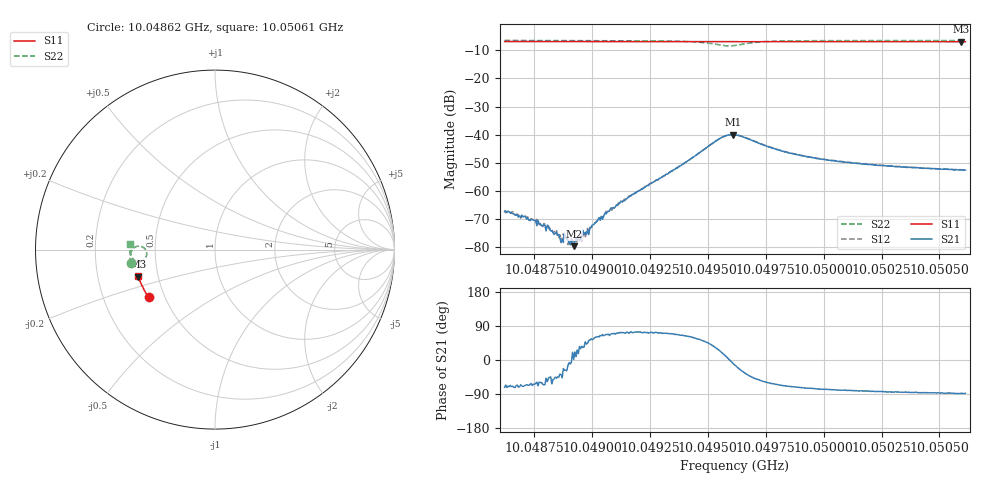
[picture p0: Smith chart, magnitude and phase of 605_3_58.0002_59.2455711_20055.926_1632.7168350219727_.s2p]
#  HZ  S  RI  R  50.00
! Rohde & Schwarz Vector Network Analyzer
! Rohde-Schwarz,ZNB20-2Port,1311601062101988,3.16
! Created: UTC 3/21/2024, 1:17:24 AM
! freq[Hz]  re:S11  im:S11  re:S21  im:S21  re:S12  im:S12  re:S22  im:S22
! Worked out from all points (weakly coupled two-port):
!   401 points, 10.04862 GHz to 10.05061 GHz, reference 50 ohm
!   highest |S21| = -40.03 dB at 10.04961 GHz (marker M1); lowest = -79.8 dB at 10.04892 GHz (marker M2)
!   lowest |S11| = -6.9 dB at 10.05059 GHz (marker M3), VSWR 2.65, Z = 19.3 - j7.3 ohm
!   |S11| at or under -10 dB: nowhere
!   |S22| runs from -8.4 to -6.4 dB; largest |S21 - S12| = 0.00074
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1.0048623e10  -0.3703 -0.2658  0.00013 -0.0004  0.000179 -0.00041  -0.4705 -0.0769
1.0048747e10  -0.3748 -0.2591  0.000133 -0.000269  0.000167 -0.000254  -0.4714 -0.0677
1.0048817e10  -0.3772 -0.2549  0.000144 -0.000149  0.000106 -0.000174  -0.4719 -0.0622
1.0048861e10  -0.3787 -0.2526  0.000114 -8.71e-05  0.000135 -8.9e-05  -0.4721 -0.0586
1.0048881e10  -0.3794 -0.2514  0.000154 -7.76e-05  0.00013 -4.17e-05  -0.4722 -0.0571
1.0048891e10  -0.3798 -0.2507  0.000118 -6.41e-05  0.00014 -4.55e-05  -0.4722 -0.0562
1.0048906e10  -0.3804 -0.25  0.000106 -2.01e-05  0.000116 -1.59e-05  -0.4724 -0.055
1.0048921e10  -0.381 -0.249  0.000102 2.92e-06  0.000117 3.56e-05  -0.4723 -0.0538
1.0048956e10  -0.3822 -0.2473  0.000122 8.89e-05  9.73e-05 8.15e-05  -0.4724 -0.0508
1.0048966e10  -0.3825 -0.2467  0.000134 9.12e-05  0.000116 0.000121  -0.4725 -0.0499
1.0048976e10  -0.3829 -0.2461  0.000124 0.000112  0.000101 0.000162  -0.4723 -0.0491
1.004902e10  -0.3843 -0.2436  0.000136 0.000243  0.000122 0.00026  -0.4724 -0.045
1.004907e10  -0.386 -0.2407  0.000157 0.000394  0.000129 0.000411  -0.4722 -0.0404
1.0049289e10  -0.393 -0.2282  0.000531 0.00154  0.000421 0.00156  -0.4681 -0.0155
1.0049548e10  -0.4003 -0.2127  0.00747 0.00366  0.00719 0.00414  -0.3985 0.0118
1.0049607e10  -0.4016 -0.2097  0.00987 -0.00138  0.00999 -0.000687  -0.3822 -0.0361
1.0049617e10  -0.4019 -0.2093  0.00964 -0.00236  0.0098 -0.00164  -0.3858 -0.0445
1.0049796e10  -0.4076 -0.1989  0.00235 -0.00489  0.00267 -0.00479  -0.4603 -0.0478
1.004995e10  -0.4118 -0.1896  0.000982 -0.00373  0.00124 -0.00372  -0.4715 -0.0246
1.0050284e10  -0.42 -0.1694  0.000284 -0.00272  0.000436 -0.00272  -0.4753 0.00814
1.0050592e10  -0.4267 -0.1502  8.55e-05 -0.00233  0.000214 -0.00235  -0.4748 0.032
1.0050612e10  -0.4272 -0.1489  9.37e-05 -0.00231  0.000209 -0.00232  -0.4747 0.0337
